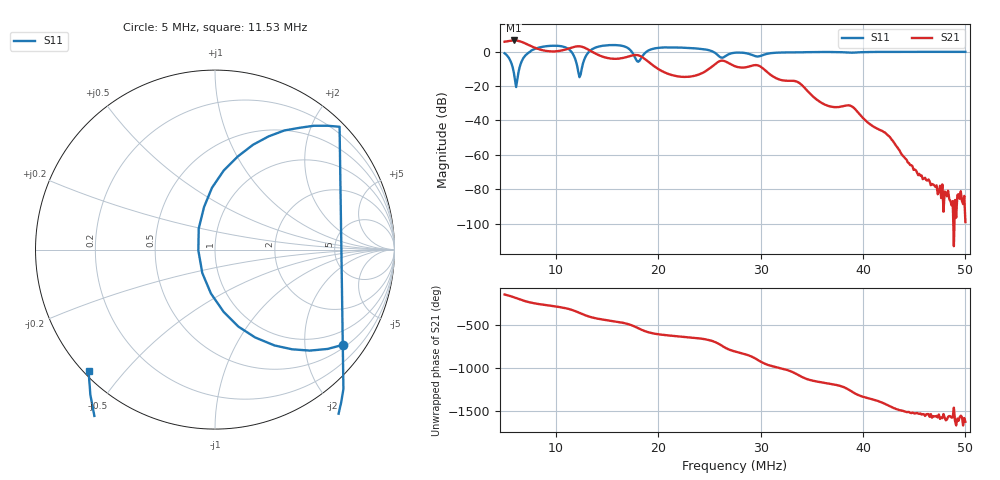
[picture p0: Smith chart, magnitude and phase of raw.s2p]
! S11/S21 only; reverse parameters are placeholders. Device calibration unverified.
! NanoVNA F V2 profile | COM3 | 2026-09-08T12:03:52.9113156-04:00 | device calibration unverified
# HZ S RI R 50
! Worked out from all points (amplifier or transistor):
!   401 points, 5 MHz to 50 MHz, reference 50 ohm
!   highest |S21| = 6.4 dB at 5.9 MHz (marker M1)
!   |S21| within 3 dB of that: start of sweep to 7.472 MHz
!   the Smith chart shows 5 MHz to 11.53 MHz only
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5000000  0.7131 -0.5307  -1.566 -1.118  0 0  0 0
5900000  -0.0228 -0.2445  -2.09 -0.1389  0 0  0 0
7250000  0.55 0.6899  -1.032 1.215  0 0  0 0
7812500  0.6886 -0.9143  -0.5714 1.209  0 0  0 0
1.00625e7  -0.068 -1.469  0.264 0.981  0 0  0 0
1.1525e7  -0.7043 -0.6774  1.023 0.7943  0 0  0 0
1.25375e7  0.2489 0.2034  1.358 -0.2385  0 0  0 0
1.3775e7  1.12 -0.5824  0.4721 -0.7685  0 0  0 0
1.6025e7  0.5447 -1.421  -0.136 -0.6011  0 0  0 0
1.6925e7  -0.1705 -1.307  -0.3974 -0.5676  0 0  0 0
1.76e7  -0.6888 -0.4148  -0.6971 -0.3592  0 0  0 0
1.83875e7  0.2647 0.6256  -0.6722 0.2004  0 0  0 0
1.90625e7  1.015 0.3636  -0.3467 0.3553  0 0  0 0
2.0075e7  1.278 -0.1252  -0.1065 0.2821  0 0  0 0
2.435e7  0.9341 -0.711  0.1278 0.2041  0 0  0 0
2.60375e7  0.5156 -0.4599  0.5232 -0.0842  0 0  0 0
2.75e7  0.836 -0.3952  -0.00012 -0.3737  0 0  0 0
3.0425e7  0.7616 -0.3219  -0.173 0.2317  0 0  0 0
3.50375e7  0.689 -0.6724  0.0185 -0.0487  0 0  0 0
4.2575e7  0.4418 -0.868  0.00337 -0.000362  0 0  0 0
4.685e7  0.2779 -0.9361  -8e-05 -0.000113  0 0  0 0
5e7  0.16 -0.9634  -1.1e-05 2e-06  0 0  0 0
